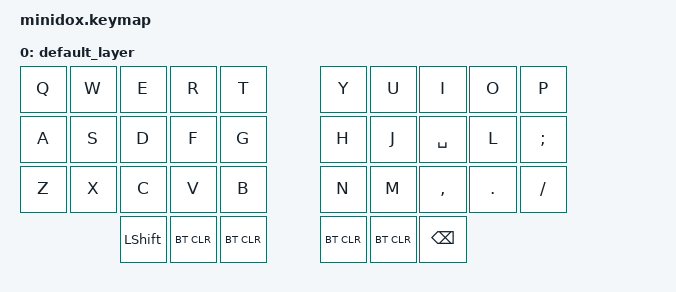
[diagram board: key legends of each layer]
#include <behaviors.dtsi>
#include <dt-bindings/zmk/keys.h>
#include <dt-bindings/zmk/bt.h>

/ {
    keymap {
        compatible = "zmk,keymap";

        default_layer {
// --------------------------------------------------------------------------------------------------------------------------------------------------------------------
// |    Q    |    W    |    E    |    R    |    T    |        |    Y    |    U    |    I    |    O    |    P    |
// |    A    |    S    |    D    |    F    |    G    |        |    H    |    J    |    K    |    L    |    ;    |
// |    Z    |    X    |    C    |    V    |    B    |        |    N    |    M    |    ,    |    .    |    /    |
//                     | RETURN  |  SPACE  | BSPC    |        |  RETURN |  SPACE  |   BSPC  |
            bindings = <
    &kp Q    &kp W    &kp E        &kp R     &kp T               &kp Y     &kp U     &kp I      &kp O     &kp P 
    &kp A    &kp S    &kp D        &kp F     &kp G               &kp H     &kp J     &kp SPACE &kp L     &kp SEMI
    &kp Z    &kp X    &kp C        &kp V     &kp B               &kp N     &kp M     &kp COMMA  &kp DOT   &kp FSLH
                      &kp LSHFT    &bt BT_CLR &bt BT_CLR          &bt BT_CLR  &bt BT_CLR &kp BSPC
            >;
        };
    };
};
